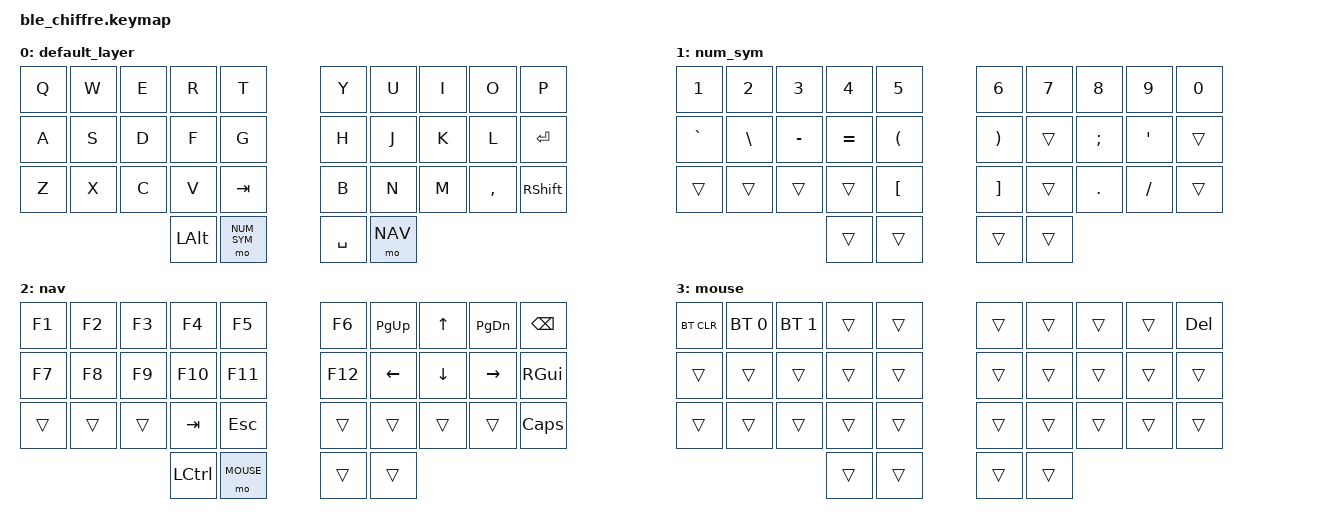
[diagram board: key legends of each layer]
/*
 * Copyright (c) 2020 The ZMK Contributors
 *
 * SPDX-License-Identifier: MIT
 */

#include <behaviors.dtsi>
#include <dt-bindings/zmk/keys.h>
#include <dt-bindings/zmk/bt.h>
#include <dt-bindings/zmk/rgb.h>

#define DEFAULT 0
#define NUM_SYM 1
#define NAV     2
#define MOUSE   3

/ {
	behaviors {
		rst: boot_reset 
		{
			compatible = "zmk,behavior-hold-tap";
			label = "Bootloader Tap - Reset Hold";
			#binding-cells = <2>;
			tapping_term_ms = <200>;
            flavor = "balanced";
			bindings = <&reset>, <&bootloader>;
        };

        
   	 };
};

/ {
    keymap 
	{
    compatible = "zmk,keymap";

    default_layer {
            bindings = <
    &kp Q &kp W &kp E &kp R &kp T &kp Y &kp U &kp I &kp O &kp P
    &kp A &kp S &kp D &kp F &kp G &kp H &kp J &kp K &kp L &kp RET
    &kp Z &kp X &kp C &kp V &kp TAB &kp B &kp N &kp M &kp COMMA &kp RSHFT
    &kp LALT &mo NUM_SYM &kp SPACE &mo NAV
            >;
        };

    num_sym {
            bindings = <
    &kp N1 &kp N2 &kp N3 &kp N4 &kp N5 &kp N6 &kp N7 &kp N8 &kp N9 &kp N0
    &kp GRAVE &kp BSLH &kp MINUS &kp EQUAL &kp LPAR &kp RPAR &trans &kp SEMI &kp APOS &trans
    &trans &trans &trans &trans &kp LBKT &kp RBKT &trans &kp DOT &kp FSLH &trans
    &trans &trans &trans &trans
            >;
        };

    nav {
            bindings = <
    &kp F1 &kp F2 &kp F3 &kp F4 &kp F5 &kp F6 &kp PG_UP &kp UP &kp PG_DN &kp BSPC
    &kp F7 &kp F8 &kp F9 &kp F10 &kp F11 &kp F12 &kp LEFT &kp DOWN &kp RIGHT &kp RGUI
    &trans &trans &trans &kp TAB &kp ESC &trans &trans &trans &trans &kp CAPS
    &kp LCTRL &mo MOUSE &trans &trans
            >;
        };
	
    mouse {
            bindings = <
    &bt BT_CLR &bt BT_SEL 0 &bt BT_SEL 1 &trans &trans &trans &trans &trans &trans &kp DEL
    &trans &trans &trans &trans &trans &trans &trans &trans &trans &trans
    &trans &trans &trans &trans &trans &trans &trans &trans &trans &trans
    &trans &trans &trans &trans
            >;
        };
    };
};
